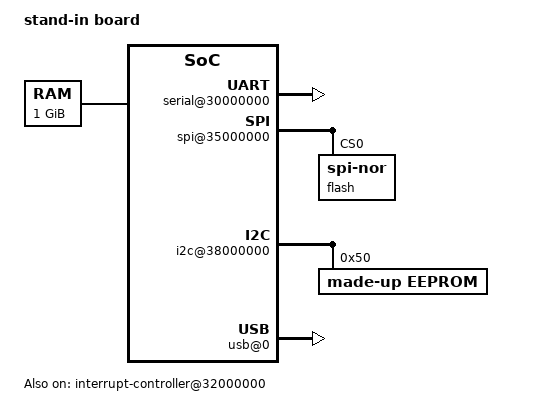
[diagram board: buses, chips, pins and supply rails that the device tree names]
// SPDX-License-Identifier: GPL-3.0-only
// Copyright (C) 2026 James Morris <jmorris@namei.org>
// A stand-in board tree for tools/k3-recipe.py's self-test: the kinds of
// node that the recipe reads, every value made up. Six CPU nodes are named
// by the hart's decimal number.
/dts-v1/;

/ {
	#address-cells = <0x02>;
	#size-cells = <0x02>;
	compatible = "made-up,board";
	model = "stand-in board";

	cpus {
		#address-cells = <0x01>;
		#size-cells = <0x00>;

		cpu@0 {
			device_type = "cpu";
			reg = <0x00>;
			riscv,isa-extensions = "i", "m", "a", "c", "h", "zicbom";
			riscv,cbom-block-size = <0x40>;
			riscv,cboz-block-size = <0x40>;
		};

		cpu@1 {
			device_type = "cpu";
			reg = <0x01>;
			riscv,isa-extensions = "i", "m", "a", "c", "h", "zicbom";
			riscv,cbom-block-size = <0x40>;
			riscv,cboz-block-size = <0x40>;
		};

		cpu@2 {
			device_type = "cpu";
			reg = <0x02>;
			riscv,isa-extensions = "i", "m", "a", "c", "h", "zicbom";
			riscv,cbom-block-size = <0x40>;
			riscv,cboz-block-size = <0x40>;
		};

		cpu@3 {
			device_type = "cpu";
			reg = <0x03>;
			riscv,isa-extensions = "i", "m", "a", "c", "h", "zicbom";
			riscv,cbom-block-size = <0x40>;
			riscv,cboz-block-size = <0x40>;
		};

		cpu@4 {
			device_type = "cpu";
			reg = <0x04>;
			riscv,isa-extensions = "i", "m", "a", "c", "h", "zicbom";
			riscv,cbom-block-size = <0x40>;
			riscv,cboz-block-size = <0x40>;
		};

		cpu@5 {
			device_type = "cpu";
			reg = <0x05>;
			riscv,isa-extensions = "i", "m", "a", "c", "h", "zicbom";
			riscv,cbom-block-size = <0x40>;
			riscv,cboz-block-size = <0x40>;
		};

		cpu@6 {
			device_type = "cpu";
			reg = <0x06>;
			riscv,isa-extensions = "i", "m", "a", "c", "h", "zicbom";
			riscv,cbom-block-size = <0x40>;
			riscv,cboz-block-size = <0x40>;
		};

		cpu@7 {
			device_type = "cpu";
			reg = <0x07>;
			riscv,isa-extensions = "i", "m", "a", "c", "h", "zicbom";
			riscv,cbom-block-size = <0x40>;
			riscv,cboz-block-size = <0x40>;
		};

		cpu@8 {
			device_type = "cpu";
			reg = <0x08>;
			riscv,isa-extensions = "i", "m", "a", "c", "zicbom";
			riscv,cbom-block-size = <0x40>;
			riscv,cboz-block-size = <0x40>;
		};

		cpu@9 {
			device_type = "cpu";
			reg = <0x09>;
			riscv,isa-extensions = "i", "m", "a", "c", "zicbom";
			riscv,cbom-block-size = <0x40>;
			riscv,cboz-block-size = <0x40>;
		};

		cpu@10 {
			device_type = "cpu";
			reg = <0x0a>;
			riscv,isa-extensions = "i", "m", "a", "c", "zicbom";
			riscv,cbom-block-size = <0x40>;
			riscv,cboz-block-size = <0x40>;
		};

		cpu@11 {
			device_type = "cpu";
			reg = <0x0b>;
			riscv,isa-extensions = "i", "m", "a", "c", "zicbom";
			riscv,cbom-block-size = <0x40>;
			riscv,cboz-block-size = <0x40>;
		};

		cpu@12 {
			device_type = "cpu";
			reg = <0x0c>;
			riscv,isa-extensions = "i", "m", "a", "c", "zicbom";
			riscv,cbom-block-size = <0x40>;
			riscv,cboz-block-size = <0x40>;
		};

		cpu@13 {
			device_type = "cpu";
			reg = <0x0d>;
			riscv,isa-extensions = "i", "m", "a", "c", "zicbom";
			riscv,cbom-block-size = <0x40>;
			riscv,cboz-block-size = <0x40>;
		};

		cpu@14 {
			device_type = "cpu";
			reg = <0x0e>;
			riscv,isa-extensions = "i", "m", "a", "c", "zicbom";
			riscv,cbom-block-size = <0x40>;
			riscv,cboz-block-size = <0x40>;
		};

		cpu@15 {
			device_type = "cpu";
			reg = <0x0f>;
			riscv,isa-extensions = "i", "m", "a", "c", "zicbom";
			riscv,cbom-block-size = <0x40>;
			riscv,cboz-block-size = <0x40>;
		};
	};

	memory@80000000 {
		u-boot,dm-spl;
		device_type = "memory";
		reg = <0x00 0x80000000 0x00 0x40000000>;
	};

	chosen {
		stdout-path = "serial0";
	};

	aliases {
		console = "/soc/serial@30000000";
	};

	soc {
		compatible = "simple-bus";
		#address-cells = <0x02>;
		#size-cells = <0x02>;
		ranges;

		serial@30000000 {
			compatible = "ns16550";
			reg = <0x00 0x30000000 0x00 0x100>;
			reg-shift = <0x02>;
			reg-io-width = <0x04>;
		};

		timer@31000000 {
			compatible = "riscv,clint0";
			reg = <0x00 0x31000000 0x00 0x10000>;
			clint,has-no-64bit-mmio;
		};

		interrupt-controller@32000000 {
			compatible = "riscv,aplic";
			reg = <0x00 0x32000000 0x00 0x4000>;
			status = "okay";
		};

		interrupt-controller@33000000 {
			compatible = "riscv,imsics";
			reg = <0x00 0x33000000 0x00 0x10000>;
		};

		interrupt-controller@34000000 {
			compatible = "riscv,imsics";
			reg = <0x00 0x34000000 0x00 0x400000>;
			riscv,guest-index-bits = <0x06>;
		};

		spi@35000000 {
			compatible = "made-up,qspi";
			reg = <0x00 0x35000000 0x00 0x1000>;
			#address-cells = <0x01>;
			#size-cells = <0x00>;
			status = "okay";

			flash@0 {
				compatible = "jedec,spi-nor";
				reg = <0x00>;
			};
		};

		mailbox@36000000 {
			compatible = "riscv,rpmi-shmem-mbox";
			reg = <0x00 0x36000000 0x00 0x1000>;
			#mbox-cells = <0x01>;
			phandle = <0x40>;
		};

		clock@0 {
			compatible = "made-up,rpmi-clock";
			mboxes = <0x40 0x01>;
		};

		reset@0 {
			compatible = "made-up,rpmi-reset";
			mboxes = <0x40 0x02>;
			status = "disabled";
		};

		power@0 {
			compatible = "made-up,rpmi-power";
			mboxes = <0x40 0x03>;
			status = "okay";
		};

		fuse@37000000 {
			compatible = "made-up,efuse";
			reg = <0x00 0x37000000 0x00 0x400>;
		};

		i2c@38000000 {
			compatible = "made-up,i2c";
			reg = <0x00 0x38000000 0x00 0x38>;
			#address-cells = <0x01>;
			#size-cells = <0x00>;

			eeprom@50 {
				compatible = "made-up,eeprom";
				reg = <0x50>;
			};
		};

		gpio@39000000 {
			compatible = "made-up,gpio";
			reg = <0x00 0x39000000 0x00 0x800>;
			status = "disabled";
		};

		rproc@0 {
			compatible = "made-up,rproc";
			reg = <0x00 0x00 0x00 0x00>;
			fw_boot_entry = <0x00 0x80300000>;
			status = "disabled";
		};

		usb@0 {
			compatible = "made-up,usb";
			#address-cells = <0x02>;
			#size-cells = <0x02>;
			ranges;

			dwc@3a000000 {
				compatible = "made-up,dwc";
				reg = <0x00 0x3a000000 0x00 0x1000>;
			};
		};
	};
};
